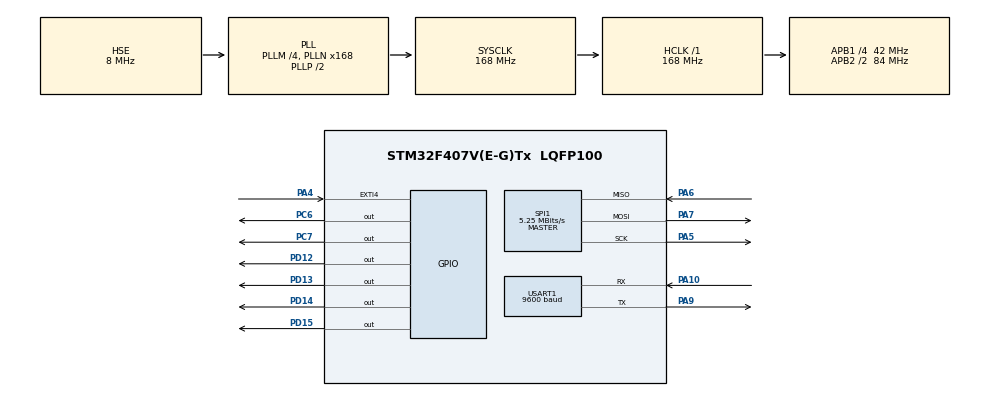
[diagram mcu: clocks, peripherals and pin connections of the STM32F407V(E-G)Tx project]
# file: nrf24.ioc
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Mcu.Family=STM32F4
RCC.PLLSourceVirtual=RCC_PLLSOURCE_HSE
NVIC.EXTI4_IRQn=true\:0\:0\:false\:false\:true\:true\:true
PA6.Mode=Full_Duplex_Master
PH0-OSC_IN.Signal=RCC_OSC_IN
RCC.CortexFreq_Value=168000000
PA7.Mode=Full_Duplex_Master
PA10.Mode=Asynchronous
SPI1.VirtualType=VM_MASTER
USART1.BaudRate=9600
PC6.Signal=GPIO_Output
RCC.APB1CLKDivider=RCC_HCLK_DIV4
RCC.SYSCLKSource=RCC_SYSCLKSOURCE_PLLCLK
ProjectManager.StackSize=0x400
PD13.Signal=GPIO_Output
PA9.Mode=Asynchronous
ProjectManager.TargetToolchain=STM32CubeIDE
SPI1.Direction=SPI_DIRECTION_2LINES
RCC.HCLKFreq_Value=168000000
RCC.APB2TimFreq_Value=168000000
PA9.Signal=USART1_TX
PC7.Signal=GPIO_Output
SPI1.CalculateBaudRate=5.25 MBits/s
RCC.LSE_VALUE=32768
RCC.AHBFreq_Value=168000000
PH0-OSC_IN.Mode=HSE-External-Oscillator
PA5.Signal=SPI1_SCK
RCC.HSE_VALUE=8000000
board=custom
RCC.VCOOutputFreq_Value=336000000
NVIC.SPI1_IRQn=true\:0\:0\:false\:false\:true\:true\:true
RCC.APB2Freq_Value=84000000
SPI1.Mode=SPI_MODE_MASTER
PH1-OSC_OUT.Signal=RCC_OSC_OUT
Mcu.Name=STM32F407V(E-G)Tx
PD14.Signal=GPIO_Output
PH1-OSC_OUT.Mode=HSE-External-Oscillator
RCC.48MHZClocksFreq_Value=84000000
PA4.Signal=GPXTI4
RCC.SYSCLKFreq_VALUE=168000000
Mcu.Package=LQFP100
PA6.Signal=SPI1_MISO
PD12.Signal=GPIO_Output
USART1.VirtualMode=VM_ASYNC
PA10.Signal=USART1_RX
ProjectManager.HeapSize=0x200
RCC.HSI_VALUE=16000000
NVIC.PriorityGroup=NVIC_PRIORITYGROUP_4
RCC.APB2CLKDivider=RCC_HCLK_DIV2
RCC.PLLM=4
RCC.PLLN=168
RCC.APB1TimFreq_Value=84000000
NVIC.USART1_IRQn=true\:0\:0\:false\:false\:true\:true\:true
RCC.APB1Freq_Value=42000000
SPI1.BaudRatePrescaler=SPI_BAUDRATEPRESCALER_16
PD15.Signal=GPIO_Output
PA5.Mode=Full_Duplex_Master
PA7.Signal=SPI1_MOSI

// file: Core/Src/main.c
/* USER CODE BEGIN Header */
/**
  ******************************************************************************
  * @file           : main.c
  * @brief          : Main program body
  ******************************************************************************
  * @attention
  *
  * <h2><center>&copy; Copyright (c) 2021 STMicroelectronics.
  * All rights reserved.</center></h2>
  *
  * This software component is licensed by ST under BSD 3-Clause license,
  * the "License"; You may not use this file except in compliance with the
  * License. You may obtain a copy of the License at:
  *                        opensource.org/licenses/BSD-3-Clause
  *
  ******************************************************************************
  */
/* USER CODE END Header */
#include "main.h"
#include "MY_NRF24.h"

SPI_HandleTypeDef hspi1;

UART_HandleTypeDef huart1;

void SystemClock_Config(void);
static void MX_GPIO_Init(void);
static void MX_SPI1_Init(void);
static void MX_USART1_UART_Init(void);

/* USER CODE BEGIN 0 */
uint8_t RxData[10];
uint8_t TxData[] = "play";
uint8_t address;
extern uint8_t Rx_str[5];
extern uint8_t rx_flag,tx_flag;
void HAL_GPIO_EXTI_Callback(uint16_t GPIO_Pin)
{
	if(GPIO_Pin==GPIO_PIN_4)
	{
		//HAL_GPIO_TogglePin(GPIOD,GPIO_PIN_12);
		IRQ_Callback();

	}
}
void testBuf()
{
	CS_ON;
	address=0x0A|0x20;
	HAL_SPI_Transmit(&hspi1, &address, 1, 100);
	HAL_SPI_Transmit(&hspi1, TxData, sizeof(TxData), 100);
	CS_OFF;
	//
	CS_ON;
	address=0x0A;
	HAL_SPI_Transmit(&hspi1, &address, 1, 100);
	HAL_SPI_Receive(&hspi1, RxData, sizeof(TxData), 100);
	CS_OFF;
}
/* USER CODE END 0 */

int main(void)
{

  /* MCU Configuration--------------------------------------------------------*/

  /* Reset of all peripherals, Initializes the Flash interface and the Systick. */
  HAL_Init();

  /* Configure the system clock */
  SystemClock_Config();

  /* Initialize all configured peripherals */
  MX_GPIO_Init();
  MX_SPI1_Init();
  MX_USART1_UART_Init();
  /* USER CODE BEGIN 2 */
  NRF24_ini();
  NRF24L01_RX_Mode();
  /* USER CODE END 2 */
  testBuf();

  /* Infinite loop */
  while (1)
  {

  }
}

void SystemClock_Config(void)
{
  RCC_OscInitTypeDef RCC_OscInitStruct = {0};
  RCC_ClkInitTypeDef RCC_ClkInitStruct = {0};

  /** Configure the main internal regulator output voltage
  */
  __HAL_RCC_PWR_CLK_ENABLE();
  __HAL_PWR_VOLTAGESCALING_CONFIG(PWR_REGULATOR_VOLTAGE_SCALE1);
  /** Initializes the RCC Oscillators according to the specified parameters
  * in the RCC_OscInitTypeDef structure.
  */
  RCC_OscInitStruct.OscillatorType = RCC_OSCILLATORTYPE_HSE;
  RCC_OscInitStruct.HSEState = RCC_HSE_ON;
  RCC_OscInitStruct.PLL.PLLState = RCC_PLL_ON;
  RCC_OscInitStruct.PLL.PLLSource = RCC_PLLSOURCE_HSE;
  RCC_OscInitStruct.PLL.PLLM = 4;
  RCC_OscInitStruct.PLL.PLLN = 168;
  RCC_OscInitStruct.PLL.PLLP = RCC_PLLP_DIV2;
  RCC_OscInitStruct.PLL.PLLQ = 4;
  if (HAL_RCC_OscConfig(&RCC_OscInitStruct) != HAL_OK)
  {
    Error_Handler();
  }
  /** Initializes the CPU, AHB and APB buses clocks
  */
  RCC_ClkInitStruct.ClockType = RCC_CLOCKTYPE_HCLK|RCC_CLOCKTYPE_SYSCLK
                              |RCC_CLOCKTYPE_PCLK1|RCC_CLOCKTYPE_PCLK2;
  RCC_ClkInitStruct.SYSCLKSource = RCC_SYSCLKSOURCE_PLLCLK;
  RCC_ClkInitStruct.AHBCLKDivider = RCC_SYSCLK_DIV1;
  RCC_ClkInitStruct.APB1CLKDivider = RCC_HCLK_DIV4;
  RCC_ClkInitStruct.APB2CLKDivider = RCC_HCLK_DIV2;

  if (HAL_RCC_ClockConfig(&RCC_ClkInitStruct, FLASH_LATENCY_5) != HAL_OK)
  {
    Error_Handler();
  }
}

static void MX_SPI1_Init(void)
{

  /* SPI1 parameter configuration*/
  hspi1.Instance = SPI1;
  hspi1.Init.Mode = SPI_MODE_MASTER;
  hspi1.Init.Direction = SPI_DIRECTION_2LINES;
  hspi1.Init.DataSize = SPI_DATASIZE_8BIT;
  hspi1.Init.CLKPolarity = SPI_POLARITY_LOW;
  hspi1.Init.CLKPhase = SPI_PHASE_1EDGE;
  hspi1.Init.NSS = SPI_NSS_SOFT;
  hspi1.Init.BaudRatePrescaler = SPI_BAUDRATEPRESCALER_16;
  hspi1.Init.FirstBit = SPI_FIRSTBIT_MSB;
  hspi1.Init.TIMode = SPI_TIMODE_DISABLE;
  hspi1.Init.CRCCalculation = SPI_CRCCALCULATION_DISABLE;
  hspi1.Init.CRCPolynomial = 10;
  if (HAL_SPI_Init(&hspi1) != HAL_OK)
  {
    Error_Handler();
  }

}

static void MX_USART1_UART_Init(void)
{

  huart1.Instance = USART1;
  huart1.Init.BaudRate = 9600;
  huart1.Init.WordLength = UART_WORDLENGTH_8B;
  huart1.Init.StopBits = UART_STOPBITS_1;
  huart1.Init.Parity = UART_PARITY_NONE;
  huart1.Init.Mode = UART_MODE_TX_RX;
  huart1.Init.HwFlowCtl = UART_HWCONTROL_NONE;
  huart1.Init.OverSampling = UART_OVERSAMPLING_16;
  if (HAL_UART_Init(&huart1) != HAL_OK)
  {
    Error_Handler();
  }

}

static void MX_GPIO_Init(void)
{
  GPIO_InitTypeDef GPIO_InitStruct = {0};

  /* GPIO Ports Clock Enable */
  __HAL_RCC_GPIOH_CLK_ENABLE();
  __HAL_RCC_GPIOA_CLK_ENABLE();
  __HAL_RCC_GPIOD_CLK_ENABLE();
  __HAL_RCC_GPIOC_CLK_ENABLE();

  /*Configure GPIO pin Output Level */
  HAL_GPIO_WritePin(GPIOD, GPIO_PIN_12|GPIO_PIN_13|GPIO_PIN_14|GPIO_PIN_15, GPIO_PIN_RESET);

  /*Configure GPIO pin Output Level */
  HAL_GPIO_WritePin(GPIOC, GPIO_PIN_6|GPIO_PIN_7, GPIO_PIN_RESET);

  /*Configure GPIO pin : PA4 */
  GPIO_InitStruct.Pin = GPIO_PIN_4;
  GPIO_InitStruct.Mode = GPIO_MODE_IT_RISING;
  GPIO_InitStruct.Pull = GPIO_NOPULL;
  HAL_GPIO_Init(GPIOA, &GPIO_InitStruct);

  /*Configure GPIO pins : PD12 PD13 PD14 PD15 */
  GPIO_InitStruct.Pin = GPIO_PIN_12|GPIO_PIN_13|GPIO_PIN_14|GPIO_PIN_15;
  GPIO_InitStruct.Mode = GPIO_MODE_OUTPUT_PP;
  GPIO_InitStruct.Pull = GPIO_NOPULL;
  GPIO_InitStruct.Speed = GPIO_SPEED_FREQ_LOW;
  HAL_GPIO_Init(GPIOD, &GPIO_InitStruct);

  /*Configure GPIO pins : PC6 PC7 */
  GPIO_InitStruct.Pin = GPIO_PIN_6|GPIO_PIN_7;
  GPIO_InitStruct.Mode = GPIO_MODE_OUTPUT_PP;
  GPIO_InitStruct.Pull = GPIO_NOPULL;
  GPIO_InitStruct.Speed = GPIO_SPEED_FREQ_LOW;
  HAL_GPIO_Init(GPIOC, &GPIO_InitStruct);

  /* EXTI interrupt init*/
  HAL_NVIC_SetPriority(EXTI4_IRQn, 0, 0);
  HAL_NVIC_EnableIRQ(EXTI4_IRQn);

}

void Error_Handler(void)
{
  /* USER CODE BEGIN Error_Handler_Debug */
  /* User can add his own implementation to report the HAL error return state */
  __disable_irq();
  while (1)
  {
	  HAL_GPIO_WritePin(GPIOD, GPIO_PIN_13, SET);
  }
  /* USER CODE END Error_Handler_Debug */
}

/************************ (C) COPYRIGHT STMicroelectronics *****END OF FILE****/
